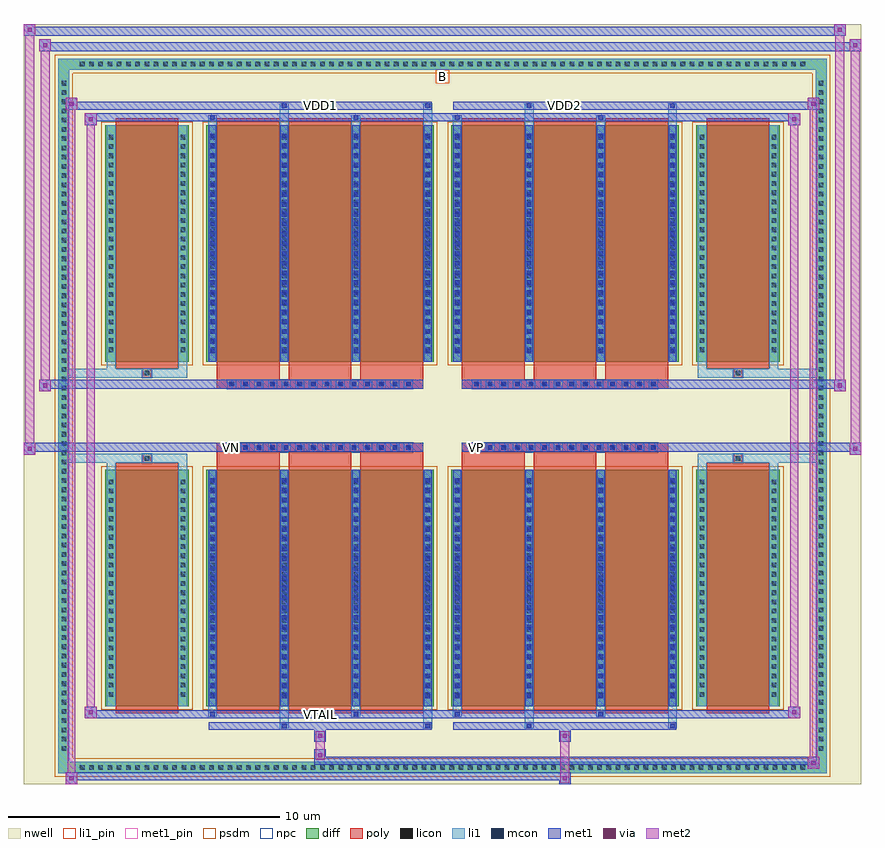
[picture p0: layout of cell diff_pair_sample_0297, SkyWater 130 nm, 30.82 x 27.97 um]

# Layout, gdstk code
import gdstk
lib = gdstk.Library(unit=1e-6, precision=5e-09)
def R(c, l, rs):  # rectangles x0, y0, x1, y1
    for r in rs: c.add(gdstk.rectangle(r[:2], r[2:], *l))
def A(c, l, x, y, w, h, nx, ny, dx, dy):  # array of equal rectangles
    R(c, l, [(x+i*dx, y+j*dy, x+i*dx+w, y+j*dy+h) for i in range(nx) for j in range(ny)])
def P(c, l, *ps):  # polygons
    for p in ps: c.add(gdstk.Polygon(p, *l))
nwell = (64, 20)
diff = (65, 20)
poly = (66, 20)
licon = (66, 44)
li1_pin = (67, 16)
li1 = (67, 20)
mcon = (67, 44)
met1_pin = (68, 16)
met1 = (68, 20)
via = (68, 44)
met2 = (69, 20)
psdm = (94, 20)
npc = (95, 20)

diff_pair_sample_0297 = lib.new_cell('diff_pair_sample_0297')
R(diff_pair_sample_0297, nwell, [(-15.41,-13.55,15.41,14.42), (-12.73,-11.74,-0.01,-0.8), (0.01,-11.74,12.73,-0.8), (-12.73,0.8,-0.01,11.74), (0.01,0.8,12.73,11.74)])
A(diff_pair_sample_0297, diff, -13.465, -13.15, 0.41, 0.41, 79, 2, 0.34, 25.89)
A(diff_pair_sample_0297, diff, -14.14, -12.445, 0.41, 0.41, 1, 73, 0, 0.34)
A(diff_pair_sample_0297, diff, 13.73, -12.445, 0.41, 0.41, 1, 73, 0, 0.34)
R(diff_pair_sample_0297, diff, [(-13.465,-13.15,13.465,-12.74), (-14.14,-12.445,-13.73,12.445), (13.73,-12.445,14.14,12.445), (-12.42,-10.695,-9.33,-1.985), (-8.69,-10.695,-0.32,-1.985), (0.32,-10.695,8.69,-1.985), (9.33,-10.695,12.42,-1.985), (-12.42,1.985,-9.33,10.695), (-8.69,1.985,-0.32,10.695), (0.32,1.985,8.69,10.695), (9.33,1.985,12.42,10.695), (-13.465,12.74,13.465,13.15)])
P(diff_pair_sample_0297, diff, [(14.14,13.15),(-14.14,13.15),(-14.14,-12.74),(-13.73,-12.74),(-13.73,12.74),(13.73,12.74),(13.73,-12.74),(-13.73,-12.74),(-14.14,-12.74),(-14.14,-13.15),(14.14,-13.15)])
A(diff_pair_sample_0297, poly, -8.3, -10.945, 2.31, 9.21, 3, 2, 2.64, 12.68)
A(diff_pair_sample_0297, poly, 0.71, -10.945, 2.31, 9.21, 3, 2, 2.64, 12.68)
A(diff_pair_sample_0297, poly, -8.3, -1.735, 2.31, 0.405, 3, 2, 2.64, 3.065)
A(diff_pair_sample_0297, poly, 0.71, -1.735, 2.31, 0.405, 3, 2, 2.64, 3.065)
A(diff_pair_sample_0297, poly, -7.92, -1.33, 0.33, 0.33, 14, 2, 0.5, 2.33)
A(diff_pair_sample_0297, poly, 1.09, -1.33, 0.33, 0.33, 14, 2, 0.5, 2.33)
R(diff_pair_sample_0297, poly, [(-12.03,-10.945,-9.72,-1.735), (9.72,-10.945,12.03,-1.735), (-11.04,-1.735,-10.71,-1.405), (-11.04,-1.735,-10.71,-1.405), (10.71,-1.735,11.04,-1.405), (10.71,-1.735,11.04,-1.405), (-8.3,-1.33,-0.71,-1), (0.71,-1.33,8.3,-1), (-8.3,1,-0.71,1.33), (0.71,1,8.3,1.33), (-11.04,1.405,-10.71,1.735), (-11.04,1.405,-10.71,1.735), (10.71,1.405,11.04,1.735), (10.71,1.405,11.04,1.735), (-12.03,1.735,-9.72,10.945), (9.72,1.735,12.03,10.945)])
A(diff_pair_sample_0297, licon, -13.345, -13.03, 0.17, 0.17, 79, 2, 0.34, 25.89)
A(diff_pair_sample_0297, licon, -14.02, -12.325, 0.17, 0.17, 1, 73, 0, 0.34)
A(diff_pair_sample_0297, licon, 13.85, -12.325, 0.17, 0.17, 1, 73, 0, 0.34)
A(diff_pair_sample_0297, licon, -12.28, -10.335, 0.17, 0.17, 1, 24, 0, 0.34)
A(diff_pair_sample_0297, licon, -9.64, -10.335, 0.17, 0.17, 1, 24, 0, 0.34)
A(diff_pair_sample_0297, licon, -8.55, -10.335, 0.17, 0.17, 4, 24, 2.64, 0.34)
A(diff_pair_sample_0297, licon, 0.46, -10.335, 0.17, 0.17, 4, 24, 2.64, 0.34)
A(diff_pair_sample_0297, licon, 9.47, -10.335, 0.17, 0.17, 1, 24, 0, 0.34)
A(diff_pair_sample_0297, licon, 12.11, -10.335, 0.17, 0.17, 1, 24, 0, 0.34)
A(diff_pair_sample_0297, licon, -7.84, -1.25, 0.17, 0.17, 14, 2, 0.5, 2.33)
A(diff_pair_sample_0297, licon, 1.17, -1.25, 0.17, 0.17, 14, 2, 0.5, 2.33)
A(diff_pair_sample_0297, licon, -12.28, 2.345, 0.17, 0.17, 1, 24, 0, 0.34)
A(diff_pair_sample_0297, licon, -9.64, 2.345, 0.17, 0.17, 1, 24, 0, 0.34)
A(diff_pair_sample_0297, licon, -8.55, 2.345, 0.17, 0.17, 4, 24, 2.64, 0.34)
A(diff_pair_sample_0297, licon, 0.46, 2.345, 0.17, 0.17, 4, 24, 2.64, 0.34)
A(diff_pair_sample_0297, licon, 9.47, 2.345, 0.17, 0.17, 1, 24, 0, 0.34)
A(diff_pair_sample_0297, licon, 12.11, 2.345, 0.17, 0.17, 1, 24, 0, 0.34)
R(diff_pair_sample_0297, licon, [(-10.96,-1.655,-10.79,-1.485), (10.79,-1.655,10.96,-1.485), (-10.96,1.485,-10.79,1.655), (10.79,1.485,10.96,1.655)])
R(diff_pair_sample_0297, li1_pin, [(-0.25,12.24,0.25,12.74)])
A(diff_pair_sample_0297, li1, -13.425, -13.11, 0.33, 0.33, 79, 2, 0.34, 25.89)
A(diff_pair_sample_0297, li1, -14.1, -12.405, 0.33, 0.33, 1, 73, 0, 0.34)
A(diff_pair_sample_0297, li1, 13.77, -12.405, 0.33, 0.33, 1, 73, 0, 0.34)
A(diff_pair_sample_0297, li1, -8.63, -10.695, 0.33, 8.71, 4, 2, 2.64, 12.68)
A(diff_pair_sample_0297, li1, 0.38, -10.695, 0.33, 8.71, 4, 2, 2.64, 12.68)
A(diff_pair_sample_0297, li1, -12.36, -10.415, 0.33, 0.33, 1, 24, 0, 0.34)
A(diff_pair_sample_0297, li1, -9.72, -10.415, 0.33, 0.33, 1, 24, 0, 0.34)
A(diff_pair_sample_0297, li1, -8.63, -10.415, 0.33, 0.33, 4, 24, 2.64, 0.34)
A(diff_pair_sample_0297, li1, 0.38, -10.415, 0.33, 0.33, 4, 24, 2.64, 0.34)
A(diff_pair_sample_0297, li1, 9.39, -10.415, 0.33, 0.33, 1, 24, 0, 0.34)
A(diff_pair_sample_0297, li1, 12.03, -10.415, 0.33, 0.33, 1, 24, 0, 0.34)
A(diff_pair_sample_0297, li1, -8.55, -10.385, 0.17, 0.17, 4, 23, 2.64, 0.36)
A(diff_pair_sample_0297, li1, -8.55, -10.385, 0.17, 8.09, 4, 2, 2.64, 12.68)
A(diff_pair_sample_0297, li1, 0.46, -10.385, 0.17, 0.17, 4, 23, 2.64, 0.36)
A(diff_pair_sample_0297, li1, 0.46, -10.385, 0.17, 8.09, 4, 2, 2.64, 12.68)
A(diff_pair_sample_0297, li1, -7.92, -1.33, 0.33, 0.33, 14, 2, 0.5, 2.33)
A(diff_pair_sample_0297, li1, 1.09, -1.33, 0.33, 0.33, 14, 2, 0.5, 2.33)
A(diff_pair_sample_0297, li1, -12.36, 2.265, 0.33, 0.33, 1, 24, 0, 0.34)
A(diff_pair_sample_0297, li1, -9.72, 2.265, 0.33, 0.33, 1, 24, 0, 0.34)
A(diff_pair_sample_0297, li1, -8.63, 2.265, 0.33, 0.33, 4, 24, 2.64, 0.34)
A(diff_pair_sample_0297, li1, 0.38, 2.265, 0.33, 0.33, 4, 24, 2.64, 0.34)
A(diff_pair_sample_0297, li1, 9.39, 2.265, 0.33, 0.33, 1, 24, 0, 0.34)
A(diff_pair_sample_0297, li1, 12.03, 2.265, 0.33, 0.33, 1, 24, 0, 0.34)
A(diff_pair_sample_0297, li1, -8.55, 2.295, 0.17, 0.17, 4, 23, 2.64, 0.36)
A(diff_pair_sample_0297, li1, 0.46, 2.295, 0.17, 0.17, 4, 23, 2.64, 0.36)
R(diff_pair_sample_0297, li1, [(-14.14,-13.15,-13.73,-12.74), (-14.14,-13.15,-13.73,-12.74), (-13.73,-13.15,13.73,-12.74), (13.73,-13.15,14.14,-12.74), (13.73,-13.15,14.14,-12.74), (-14.14,-12.74,-13.73,12.74), (13.73,-12.74,14.14,12.74), (-5.99,-11.5,-5.66,-10.695), (-5.91,-11.5,-5.74,-11.33), (-0.71,-11.5,-0.38,-10.695), (-0.63,-11.5,-0.46,-11.33), (3.02,-11.5,3.35,-10.695), (3.1,-11.5,3.27,-11.33), (8.3,-11.5,8.63,-10.695), (8.38,-11.5,8.55,-11.33), (-8.63,-11.07,-8.3,-10.695), (-8.55,-11.07,-8.38,-10.9), (-3.35,-11.07,-3.02,-10.695), (-3.27,-11.07,-3.1,-10.9), (0.38,-11.07,0.71,-10.695), (0.46,-11.07,0.63,-10.9), (5.66,-11.07,5.99,-10.695), (5.74,-11.07,5.91,-10.9), (-12.36,-10.695,-12.03,-1.985), (-9.72,-10.695,-9.39,-1.985), (9.39,-10.695,9.72,-1.985), (12.03,-10.695,12.36,-1.985), (-12.36,-1.985,-12.03,-1.405), (-9.72,-1.985,-9.39,-1.405), (9.39,-1.985,9.72,-1.405), (12.03,-1.985,12.36,-1.405), (-14.14,-1.735,-11.04,-1.405), (-12.36,-1.735,-11.04,-1.405), (-11.04,-1.735,-10.71,-1.405), (-10.71,-1.735,-9.39,-1.405), (9.39,-1.735,10.71,-1.405), (10.71,-1.735,11.04,-1.405), (10.71,-1.735,14.14,-1.405), (11.04,-1.735,12.36,-1.405), (-14.14,1.405,-11.04,1.735), (-12.36,1.405,-11.04,1.735), (-12.36,1.405,-12.03,1.985), (-11.04,1.405,-10.71,1.735), (-10.71,1.405,-9.39,1.735), (-9.72,1.405,-9.39,1.985), (9.39,1.405,10.71,1.735), (9.39,1.405,9.72,1.985), (10.71,1.405,11.04,1.735), (10.71,1.405,14.14,1.735), (11.04,1.405,12.36,1.735), (12.03,1.405,12.36,1.985), (-12.36,1.985,-12.03,10.695), (-9.72,1.985,-9.39,10.695), (9.39,1.985,9.72,10.695), (12.03,1.985,12.36,10.695), (-8.63,10.695,-8.3,11.07), (-5.99,10.695,-5.66,11.5), (-3.35,10.695,-3.02,11.07), (-0.71,10.695,-0.38,11.5), (0.38,10.695,0.71,11.07), (3.02,10.695,3.35,11.5), (5.66,10.695,5.99,11.07), (8.3,10.695,8.63,11.5), (-8.55,10.9,-8.38,11.07), (-3.27,10.9,-3.1,11.07), (0.46,10.9,0.63,11.07), (5.74,10.9,5.91,11.07), (-5.91,11.33,-5.74,11.5), (-0.63,11.33,-0.46,11.5), (3.1,11.33,3.27,11.5), (8.38,11.33,8.55,11.5), (-14.14,12.74,-13.73,13.15), (-14.14,12.74,-13.73,13.15), (-13.73,12.74,13.73,13.15), (13.73,12.74,14.14,13.15), (13.73,12.74,14.14,13.15)])
A(diff_pair_sample_0297, mcon, -8.55, -10.385, 0.17, 0.17, 4, 23, 2.64, 0.36)
A(diff_pair_sample_0297, mcon, 0.46, -10.385, 0.17, 0.17, 4, 23, 2.64, 0.36)
A(diff_pair_sample_0297, mcon, -7.84, -1.25, 0.17, 0.17, 14, 2, 0.5, 2.33)
A(diff_pair_sample_0297, mcon, 1.17, -1.25, 0.17, 0.17, 14, 2, 0.5, 2.33)
A(diff_pair_sample_0297, mcon, -8.55, 2.295, 0.17, 0.17, 4, 23, 2.64, 0.36)
A(diff_pair_sample_0297, mcon, 0.46, 2.295, 0.17, 0.17, 4, 23, 2.64, 0.36)
R(diff_pair_sample_0297, mcon, [(-5.91,-11.5,-5.74,-11.33), (-0.63,-11.5,-0.46,-11.33), (3.1,-11.5,3.27,-11.33), (8.38,-11.5,8.55,-11.33), (-8.55,-11.07,-8.38,-10.9), (-3.27,-11.07,-3.1,-10.9), (0.46,-11.07,0.63,-10.9), (5.74,-11.07,5.91,-10.9), (-8.55,10.9,-8.38,11.07), (-3.27,10.9,-3.1,11.07), (0.46,10.9,0.63,11.07), (5.74,10.9,5.91,11.07), (-5.91,11.33,-5.74,11.5), (-0.63,11.33,-0.46,11.5), (3.1,11.33,3.27,11.5), (8.38,11.33,8.55,11.5)])
R(diff_pair_sample_0297, met1_pin, [(-4.64,-11.11,-4.37,-10.84), (-7.89,-1.29,-7.62,-1.02), (1.12,-1.29,1.39,-1.02), (-4.64,11.29,-4.37,11.56), (4.37,11.29,4.64,11.56)])
A(diff_pair_sample_0297, met1, -8.61, -10.695, 0.29, 8.71, 4, 2, 2.64, 12.68)
A(diff_pair_sample_0297, met1, 0.4, -10.695, 0.29, 8.71, 4, 2, 2.64, 12.68)
A(diff_pair_sample_0297, met1, -8.61, -10.445, 0.29, 0.29, 4, 23, 2.64, 0.36)
A(diff_pair_sample_0297, met1, 0.4, -10.445, 0.29, 0.29, 4, 23, 2.64, 0.36)
A(diff_pair_sample_0297, met1, -7.9, -1.31, 0.29, 0.29, 14, 2, 0.5, 2.33)
A(diff_pair_sample_0297, met1, 1.11, -1.31, 0.29, 0.29, 14, 2, 0.5, 2.33)
A(diff_pair_sample_0297, met1, -8.61, 2.235, 0.29, 0.29, 4, 23, 2.64, 0.36)
A(diff_pair_sample_0297, met1, 0.4, 2.235, 0.29, 0.29, 4, 23, 2.64, 0.36)
R(diff_pair_sample_0297, met1, [(-13.87,-13.55,-13.44,-13.12), (4.29,-13.55,4.72,-13.12), (-13.87,-13.41,4.72,-13.12), (13.44,-12.98,13.87,-12.55), (-4.72,-12.84,13.87,-12.55), (-4.72,-12.7,-4.29,-12.27), (-4.72,-11.99,-4.29,-11.56), (4.29,-11.99,4.72,-11.56), (-8.61,-11.56,-0.4,-11.27), (-5.97,-11.56,-5.68,-11.27), (-0.69,-11.56,-0.4,-11.27), (0.4,-11.56,8.61,-11.27), (3.04,-11.56,3.33,-11.27), (8.32,-11.56,8.61,-11.27), (-13.16,-11.13,-12.73,-10.7), (-13.16,-11.13,-8.61,-10.84), (-8.61,-11.13,-8.32,-10.84), (-8.61,-11.13,-0.4,-10.84), (-3.33,-11.13,-3.04,-10.84), (-0.4,-11.13,0.4,-10.84), (0.4,-11.13,0.69,-10.84), (0.4,-11.13,8.61,-10.84), (5.68,-11.13,5.97,-10.84), (8.61,-11.13,13.16,-10.84), (12.73,-11.13,13.16,-10.7), (-15.41,-1.43,-14.98,-1), (14.98,-1.43,15.41,-1), (-15.41,-1.33,-0.71,-1), (-8.3,-1.33,-0.71,-1), (0.71,-1.33,8.3,-1), (0.71,-1.33,15.41,-1), (-14.84,0.9,-14.41,1.33), (14.41,0.9,14.84,1.33), (-14.84,1,-8.3,1.33), (-8.3,1,-0.71,1.33), (0.71,1,8.3,1.33), (8.3,1,14.84,1.33), (-13.16,10.7,-12.73,11.13), (12.73,10.7,13.16,11.13), (-13.16,10.84,-8.61,11.13), (-8.61,10.84,-8.32,11.13), (-8.61,10.84,-0.4,11.13), (-3.33,10.84,-3.04,11.13), (-0.4,10.84,0.4,11.13), (0.4,10.84,0.69,11.13), (0.4,10.84,8.61,11.13), (5.68,10.84,5.97,11.13), (8.61,10.84,13.16,11.13), (-13.87,11.27,-13.44,11.7), (-13.87,11.27,-8.61,11.56), (-8.61,11.27,-0.4,11.56), (-5.97,11.27,-5.68,11.56), (-0.69,11.27,-0.4,11.56), (0.4,11.27,8.61,11.56), (3.04,11.27,3.33,11.56), (8.32,11.27,8.61,11.56), (8.61,11.27,13.87,11.56), (13.44,11.27,13.87,11.7), (-14.84,13.42,-14.41,13.85), (-14.84,13.42,-12.73,13.75), (-12.73,13.42,12.73,13.75), (12.73,13.42,15.41,13.75), (14.98,13.42,15.41,13.85), (-15.41,13.99,-14.98,14.42), (-15.41,13.99,-12.73,14.32), (-12.73,13.99,12.73,14.32), (12.73,13.99,14.84,14.32), (14.41,13.99,14.84,14.42)])
R(diff_pair_sample_0297, via, [(-13.73,-13.41,-13.58,-13.26), (4.43,-13.41,4.58,-13.26), (13.58,-12.84,13.73,-12.69), (-4.58,-12.56,-4.43,-12.41), (-4.58,-11.85,-4.43,-11.7), (4.43,-11.85,4.58,-11.7), (-13.02,-10.99,-12.87,-10.84), (12.87,-10.99,13.02,-10.84), (-15.27,-1.29,-15.12,-1.14), (15.12,-1.29,15.27,-1.14), (-14.7,1.04,-14.55,1.19), (14.55,1.04,14.7,1.19), (-13.02,10.84,-12.87,10.99), (12.87,10.84,13.02,10.99), (-13.73,11.41,-13.58,11.56), (13.58,11.41,13.73,11.56), (-14.7,13.56,-14.55,13.71), (15.12,13.56,15.27,13.71), (-15.27,14.13,-15.12,14.28), (14.55,14.13,14.7,14.28)])
R(diff_pair_sample_0297, met2, [(-13.87,-13.55,-13.44,-13.12), (-13.8,-13.55,-13.51,11.7), (-13.51,-13.55,-13.44,-13.12), (-13.82,-13.5,-13.49,-13.17), (4.34,-13.5,4.67,-13.17), (4.34,-13.17,4.67,-11.94), (13.44,-12.98,13.87,-12.55), (13.51,-12.98,13.8,11.7), (13.8,-12.98,13.87,-12.55), (13.49,-12.93,13.82,-12.6), (-4.67,-12.65,-4.34,-12.32), (-4.67,-12.32,-4.34,-11.94), (-4.67,-11.94,-4.34,-11.61), (4.34,-11.94,4.67,-11.61), (-13.16,-11.13,-12.73,-10.7), (-13.09,-11.13,-12.8,11.13), (-12.8,-11.13,-12.73,-10.7), (12.73,-11.13,13.16,-10.7), (12.8,-11.13,13.09,11.13), (13.09,-11.13,13.16,-10.7), (-13.11,-11.08,-12.78,-10.75), (12.78,-11.08,13.11,-10.75), (-15.41,-1.43,-14.98,-1), (-15.36,-1.43,-15.03,14.42), (-15.03,-1.43,-14.98,-1), (14.98,-1.43,15.41,-1), (15.03,-1.43,15.36,13.85), (15.36,-1.43,15.41,-1), (-15.36,-1.38,-15.03,-1.05), (15.03,-1.38,15.36,-1.05), (-14.84,0.9,-14.41,1.33), (-14.79,0.9,-14.46,13.85), (-14.46,0.9,-14.41,1.33), (14.41,0.9,14.84,1.33), (14.46,0.9,14.79,14.42), (14.79,0.9,14.84,1.33), (-14.79,0.95,-14.46,1.28), (14.46,0.95,14.79,1.28), (-13.16,10.7,-12.73,11.13), (-12.8,10.7,-12.73,11.13), (12.73,10.7,13.16,11.13), (13.09,10.7,13.16,11.13), (-13.11,10.75,-12.78,11.08), (12.78,10.75,13.11,11.08), (-13.87,11.27,-13.44,11.7), (-13.51,11.27,-13.44,11.7), (13.44,11.27,13.87,11.7), (13.8,11.27,13.87,11.7), (-13.82,11.32,-13.49,11.65), (13.49,11.32,13.82,11.65), (-14.84,13.42,-14.41,13.85), (-14.46,13.42,-14.41,13.85), (14.98,13.42,15.41,13.85), (15.36,13.42,15.41,13.85), (-14.79,13.47,-14.46,13.8), (15.03,13.47,15.36,13.8), (-15.41,13.99,-14.98,14.42), (-15.03,13.99,-14.98,14.42), (14.41,13.99,14.84,14.42), (14.79,13.99,14.84,14.42), (-15.36,14.04,-15.03,14.37), (14.46,14.04,14.79,14.37)])
R(diff_pair_sample_0297, psdm, [(-12.55,-10.825,-9.2,-1.855), (-8.82,-10.825,-0.19,-1.855), (0.19,-10.825,8.82,-1.855), (9.2,-10.825,12.55,-1.855), (-12.55,1.855,-9.2,10.825), (-8.82,1.855,-0.19,10.825), (0.19,1.855,8.82,10.825), (9.2,1.855,12.55,10.825)])
P(diff_pair_sample_0297, psdm, [(14.27,13.28),(-14.27,13.28),(-14.27,-12.61),(-13.6,-12.61),(-13.6,12.61),(13.6,12.61),(13.6,-12.61),(-13.6,-12.61),(-14.27,-12.61),(-14.27,-13.28),(14.27,-13.28)])
A(diff_pair_sample_0297, npc, -7.94, -1.35, 0.37, 0.37, 14, 2, 0.5, 2.33)
A(diff_pair_sample_0297, npc, 1.07, -1.35, 0.37, 0.37, 14, 2, 0.5, 2.33)
R(diff_pair_sample_0297, npc, [(-11.06,-1.755,-10.69,-1.385), (10.69,-1.755,11.06,-1.385), (-7.94,-1.35,-7.07,-0.98), (-7.94,-1.35,-7.07,-0.98), (-7.44,-1.35,-6.57,-0.98), (-7.44,-1.35,-6.57,-0.98), (-6.94,-1.35,-6.07,-0.98), (-6.94,-1.35,-6.07,-0.98), (-6.44,-1.35,-5.57,-0.98), (-6.44,-1.35,-5.57,-0.98), (-5.94,-1.35,-5.07,-0.98), (-5.94,-1.35,-5.07,-0.98), (-5.44,-1.35,-4.57,-0.98), (-5.44,-1.35,-4.57,-0.98), (-4.94,-1.35,-4.07,-0.98), (-4.94,-1.35,-4.07,-0.98), (-4.44,-1.35,-3.57,-0.98), (-4.44,-1.35,-3.57,-0.98), (-3.94,-1.35,-3.07,-0.98), (-3.94,-1.35,-3.07,-0.98), (-3.44,-1.35,-2.57,-0.98), (-3.44,-1.35,-2.57,-0.98), (-2.94,-1.35,-2.07,-0.98), (-2.94,-1.35,-2.07,-0.98), (-2.44,-1.35,-1.57,-0.98), (-2.44,-1.35,-1.57,-0.98), (-1.94,-1.35,-1.07,-0.98), (-1.94,-1.35,-1.07,-0.98), (1.07,-1.35,1.94,-0.98), (1.07,-1.35,1.94,-0.98), (1.57,-1.35,2.44,-0.98), (1.57,-1.35,2.44,-0.98), (2.07,-1.35,2.94,-0.98), (2.07,-1.35,2.94,-0.98), (2.57,-1.35,3.44,-0.98), (2.57,-1.35,3.44,-0.98), (3.07,-1.35,3.94,-0.98), (3.07,-1.35,3.94,-0.98), (3.57,-1.35,4.44,-0.98), (3.57,-1.35,4.44,-0.98), (4.07,-1.35,4.94,-0.98), (4.07,-1.35,4.94,-0.98), (4.57,-1.35,5.44,-0.98), (4.57,-1.35,5.44,-0.98), (5.07,-1.35,5.94,-0.98), (5.07,-1.35,5.94,-0.98), (5.57,-1.35,6.44,-0.98), (5.57,-1.35,6.44,-0.98), (6.07,-1.35,6.94,-0.98), (6.07,-1.35,6.94,-0.98), (6.57,-1.35,7.44,-0.98), (6.57,-1.35,7.44,-0.98), (7.07,-1.35,7.94,-0.98), (7.07,-1.35,7.94,-0.98), (-7.94,0.98,-7.07,1.35), (-7.94,0.98,-7.07,1.35), (-7.44,0.98,-6.57,1.35), (-7.44,0.98,-6.57,1.35), (-6.94,0.98,-6.07,1.35), (-6.94,0.98,-6.07,1.35), (-6.44,0.98,-5.57,1.35), (-6.44,0.98,-5.57,1.35), (-5.94,0.98,-5.07,1.35), (-5.94,0.98,-5.07,1.35), (-5.44,0.98,-4.57,1.35), (-5.44,0.98,-4.57,1.35), (-4.94,0.98,-4.07,1.35), (-4.94,0.98,-4.07,1.35), (-4.44,0.98,-3.57,1.35), (-4.44,0.98,-3.57,1.35), (-3.94,0.98,-3.07,1.35), (-3.94,0.98,-3.07,1.35), (-3.44,0.98,-2.57,1.35), (-3.44,0.98,-2.57,1.35), (-2.94,0.98,-2.07,1.35), (-2.94,0.98,-2.07,1.35), (-2.44,0.98,-1.57,1.35), (-2.44,0.98,-1.57,1.35), (-1.94,0.98,-1.07,1.35), (-1.94,0.98,-1.07,1.35), (1.07,0.98,1.94,1.35), (1.07,0.98,1.94,1.35), (1.57,0.98,2.44,1.35), (1.57,0.98,2.44,1.35), (2.07,0.98,2.94,1.35), (2.07,0.98,2.94,1.35), (2.57,0.98,3.44,1.35), (2.57,0.98,3.44,1.35), (3.07,0.98,3.94,1.35), (3.07,0.98,3.94,1.35), (3.57,0.98,4.44,1.35), (3.57,0.98,4.44,1.35), (4.07,0.98,4.94,1.35), (4.07,0.98,4.94,1.35), (4.57,0.98,5.44,1.35), (4.57,0.98,5.44,1.35), (5.07,0.98,5.94,1.35), (5.07,0.98,5.94,1.35), (5.57,0.98,6.44,1.35), (5.57,0.98,6.44,1.35), (6.07,0.98,6.94,1.35), (6.07,0.98,6.94,1.35), (6.57,0.98,7.44,1.35), (6.57,0.98,7.44,1.35), (7.07,0.98,7.94,1.35), (7.07,0.98,7.94,1.35), (-11.06,1.385,-10.69,1.755), (10.69,1.385,11.06,1.755)])
diff_pair_sample_0297.add(gdstk.Label('VTAIL', (-4.505,-10.975), layer=68, texttype=5))
diff_pair_sample_0297.add(gdstk.Label('VN', (-7.755,-1.155), layer=68, texttype=5))
diff_pair_sample_0297.add(gdstk.Label('VP', (1.255,-1.155), layer=68, texttype=5))
diff_pair_sample_0297.add(gdstk.Label('B', (0,12.49), layer=67, texttype=5))
diff_pair_sample_0297.add(gdstk.Label('VDD2', (4.505,11.425), layer=68, texttype=5))
diff_pair_sample_0297.add(gdstk.Label('VDD1', (-4.505,11.425), layer=68, texttype=5))

lib.write_gds('diff_pair_sample_0297.gds')
